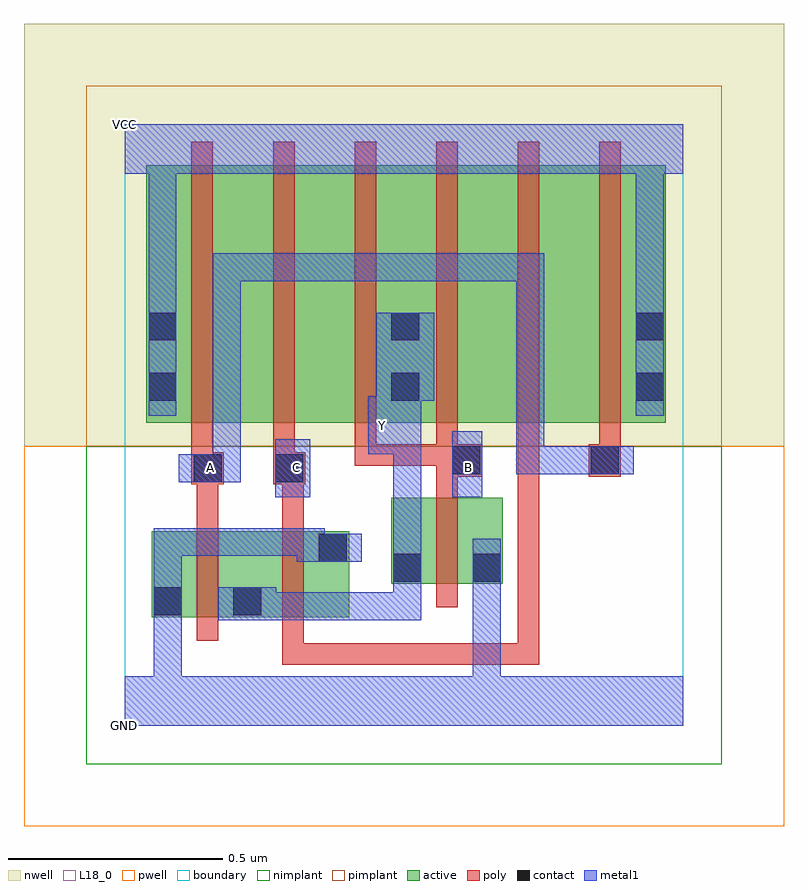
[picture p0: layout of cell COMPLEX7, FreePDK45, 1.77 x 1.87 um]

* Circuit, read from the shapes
.subckt COMPLEX7 A B C GND VCC Y
M1 Y A GND VSUBS nfet w=0.2u l=0.05u
M2 GND C Y VSUBS nfet w=0.2u l=0.05u
M3 GND B Y VSUBS nfet w=0.2u l=0.05u
M4 n1 A VCC n2 pfet w=0.6u l=0.05u
M5 n3 C n1 n2 pfet w=0.6u l=0.05u
M6 Y B n3 n2 pfet w=0.6u l=0.05u
M7 n4 B Y n2 pfet w=0.6u l=0.05u
M8 n5 C n4 n2 pfet w=0.6u l=0.05u
M9 VCC A n5 n2 pfet w=0.6u l=0.05u
.ends

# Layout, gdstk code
import gdstk
lib = gdstk.Library(unit=1e-6, precision=1e-09)
def R(c, l, rs):  # rectangles x0, y0, x1, y1
    for r in rs: c.add(gdstk.rectangle(r[:2], r[2:], *l))
def A(c, l, x, y, w, h, nx, ny, dx, dy):  # array of equal rectangles
    R(c, l, [(x+i*dx, y+j*dy, x+i*dx+w, y+j*dy+h) for i in range(nx) for j in range(ny)])
active = (1, 0)
pwell = (2, 0)
nwell = (3, 0)
nimplant = (4, 0)
pimplant = (5, 0)
poly = (9, 0)
contact = (10, 0)
metal1 = (11, 0)
L18_0 = (18, 0)
boundary = (235, 0)

complex7 = lib.new_cell('COMPLEX7')
R(complex7, active, [(0.062,0.252,0.137,0.452), (0.062,0.252,0.322,0.452), (0.247,0.252,0.522,0.452), (0.247,0.252,0.322,0.397), (0.447,0.33,0.522,0.452), (0.62,0.33,0.695,0.53), (0.62,0.33,0.88,0.53), (0.805,0.33,0.88,0.53), (0.05,0.705,0.125,1.305), (0.05,0.705,0.275,1.305), (0.275,0.705,0.465,1.305), (0.465,0.705,0.69,1.305), (0.615,0.705,0.845,1.305), (0.615,0.705,0.69,1.07), (0.845,0.705,1.035,1.305), (1.035,0.705,1.26,1.305), (1.185,0.705,1.26,1.305)])
R(complex7, pwell, [(-0.235,-0.235,1.535,0.65)])
R(complex7, nwell, [(-0.235,0.65,1.535,1.635)])
R(complex7, nimplant, [(-0.09,-0.09,1.39,0.65)])
R(complex7, pimplant, [(-0.09,0.65,1.39,1.49)])
A(complex7, poly, 0.155, 0.65, 0.05, 0.71, 6, 1, 0.19, 0)
R(complex7, poly, [(0.367,0.142,0.417,0.192), (0.367,0.142,0.417,0.192), (0.367,0.142,0.417,0.192), (0.367,0.142,0.552,0.192), (0.367,0.142,0.417,0.247), (0.502,0.142,0.552,0.192), (0.502,0.142,0.552,0.192), (0.502,0.142,0.552,0.192), (0.502,0.142,0.832,0.192), (0.782,0.142,0.832,0.192), (0.782,0.142,0.832,0.192), (0.782,0.142,0.832,0.192), (0.782,0.142,0.965,0.192), (0.915,0.142,0.965,0.7), (0.915,0.142,0.965,0.192), (0.915,0.142,0.965,0.192), (0.915,0.142,0.965,0.192), (0.915,0.142,0.965,0.192), (0.915,0.142,0.965,0.192), (0.915,0.142,0.965,0.192), (0.915,0.142,0.965,0.192), (0.167,0.197,0.217,0.507), (0.367,0.197,0.417,0.507), (0.725,0.275,0.775,0.585), (0.167,0.457,0.217,0.612), (0.367,0.457,0.417,0.612), (0.725,0.535,0.775,0.63), (0.155,0.562,0.23,0.637), (0.345,0.562,0.42,0.637), (0.725,0.58,0.832,0.655), (1.08,0.58,1.155,0.655), (0.155,0.587,0.205,0.7), (0.345,0.587,0.395,0.7), (0.535,0.605,0.585,0.7), (0.535,0.605,0.585,0.655), (0.535,0.605,0.585,0.655), (0.535,0.605,0.585,0.655), (0.535,0.605,0.775,0.655), (0.725,0.605,0.775,0.7), (1.105,0.605,1.155,0.7)])
R(complex7, contact, [(0.067,0.257,0.132,0.322), (0.252,0.257,0.317,0.322), (0.625,0.335,0.69,0.4), (0.81,0.335,0.875,0.4), (0.452,0.382,0.517,0.447), (0.16,0.567,0.225,0.632), (0.35,0.567,0.415,0.632), (0.762,0.585,0.827,0.65), (1.085,0.585,1.15,0.65), (0.055,0.757,0.12,0.822), (0.62,0.757,0.685,0.822), (1.19,0.757,1.255,0.822), (0.055,0.897,0.12,0.962), (0.62,0.897,0.685,0.962), (1.19,0.897,1.255,0.962)])
R(complex7, metal1, [(0,0,1.3,0.115), (0.067,0.05,0.132,0.115), (0.067,0.05,0.132,0.115), (0.067,0.05,0.132,0.115), (0.067,0.05,0.132,0.115), (0.067,0.05,0.132,0.287), (0.81,0.05,0.875,0.115), (0.81,0.05,0.875,0.115), (0.81,0.05,0.875,0.115), (0.81,0.05,0.875,0.115), (0.81,0.05,0.875,0.365), (0.067,0.222,0.132,0.357), (0.217,0.245,0.352,0.322), (0.287,0.245,0.49,0.31), (0.425,0.245,0.49,0.31), (0.425,0.245,0.49,0.31), (0.425,0.245,0.49,0.31), (0.425,0.245,0.69,0.31), (0.625,0.245,0.69,0.31), (0.625,0.245,0.69,0.31), (0.625,0.245,0.69,0.31), (0.625,0.245,0.69,0.365), (0.067,0.292,0.132,0.46), (0.625,0.3,0.69,0.435), (0.81,0.3,0.875,0.435), (0.625,0.37,0.69,0.697), (0.4,0.382,0.482,0.447), (0.4,0.382,0.465,0.46), (0.417,0.382,0.552,0.447), (0.067,0.395,0.132,0.46), (0.067,0.395,0.27,0.46), (0.205,0.395,0.27,0.46), (0.205,0.395,0.27,0.46), (0.205,0.395,0.27,0.46), (0.205,0.395,0.465,0.46), (0.35,0.532,0.432,0.667), (0.762,0.532,0.832,0.685), (0.125,0.567,0.267,0.632), (0.202,0.567,0.27,0.632), (0.205,0.567,0.27,0.632), (0.205,0.567,0.27,1.1), (0.912,0.585,0.977,0.65), (0.912,0.585,0.977,0.65), (0.912,0.585,0.977,0.65), (0.912,0.585,0.977,0.65), (0.912,0.585,0.977,0.65), (0.912,0.585,1.115,0.65), (0.912,0.585,0.977,1.1), (1.05,0.585,1.115,0.65), (1.05,0.585,1.115,0.65), (1.05,0.585,1.185,0.65), (0.567,0.632,0.69,0.767), (0.585,0.702,0.65,0.822), (0.055,0.722,0.12,0.997), (1.19,0.722,1.255,0.997), (0.585,0.757,0.72,0.962), (0.055,0.932,0.12,1.35), (1.19,0.932,1.255,1.35), (0.205,1.035,0.27,1.1), (0.205,1.035,0.49,1.1), (0.425,1.035,0.49,1.1), (0.425,1.035,0.49,1.1), (0.425,1.035,0.49,1.1), (0.425,1.035,0.49,1.1), (0.425,1.035,0.49,1.1), (0.425,1.035,0.69,1.1), (0.625,1.035,0.69,1.1), (0.625,1.035,0.69,1.1), (0.625,1.035,0.69,1.1), (0.625,1.035,0.84,1.1), (0.775,1.035,0.84,1.1), (0.775,1.035,0.977,1.1), (0.912,1.035,0.977,1.1), (0,1.285,1.3,1.4)])
R(complex7, L18_0, [(0,0,1.3,0.115), (0.067,0.05,0.132,0.115), (0.067,0.05,0.132,0.115), (0.067,0.05,0.132,0.115), (0.067,0.05,0.132,0.115), (0.067,0.05,0.132,0.287), (0.81,0.05,0.875,0.115), (0.81,0.05,0.875,0.115), (0.81,0.05,0.875,0.115), (0.81,0.05,0.875,0.115), (0.81,0.05,0.875,0.365), (0.067,0.222,0.132,0.357), (0.217,0.245,0.352,0.322), (0.287,0.245,0.49,0.31), (0.425,0.245,0.49,0.31), (0.425,0.245,0.49,0.31), (0.425,0.245,0.49,0.31), (0.425,0.245,0.69,0.31), (0.625,0.245,0.69,0.31), (0.625,0.245,0.69,0.31), (0.625,0.245,0.69,0.31), (0.625,0.245,0.69,0.365), (0.067,0.292,0.132,0.46), (0.625,0.3,0.69,0.435), (0.81,0.3,0.875,0.435), (0.625,0.37,0.69,0.697), (0.4,0.382,0.465,0.46), (0.4,0.382,0.482,0.447), (0.417,0.382,0.552,0.447), (0.067,0.395,0.132,0.46), (0.067,0.395,0.27,0.46), (0.205,0.395,0.27,0.46), (0.205,0.395,0.27,0.46), (0.205,0.395,0.27,0.46), (0.205,0.395,0.465,0.46), (0.35,0.532,0.432,0.667), (0.762,0.532,0.832,0.685), (0.125,0.567,0.267,0.632), (0.167,0.567,0.232,0.632), (0.202,0.567,0.27,0.632), (0.205,0.567,0.27,0.632), (0.205,0.567,0.27,1.1), (0.367,0.567,0.432,0.632), (0.767,0.567,0.832,0.632), (0.912,0.585,0.977,0.65), (0.912,0.585,0.977,0.65), (0.912,0.585,0.977,0.65), (0.912,0.585,0.977,0.65), (0.912,0.585,0.977,0.65), (0.912,0.585,1.115,0.65), (0.912,0.585,0.977,1.1), (1.05,0.585,1.115,0.65), (1.05,0.585,1.115,0.65), (1.05,0.585,1.185,0.65), (0.567,0.632,0.69,0.767), (0.567,0.667,0.632,0.732), (0.585,0.702,0.65,0.822), (0.055,0.722,0.12,0.997), (1.19,0.722,1.255,0.997), (0.585,0.757,0.72,0.962), (0.055,0.932,0.12,1.35), (1.19,0.932,1.255,1.35), (0.205,1.035,0.27,1.1), (0.205,1.035,0.49,1.1), (0.425,1.035,0.49,1.1), (0.425,1.035,0.49,1.1), (0.425,1.035,0.49,1.1), (0.425,1.035,0.49,1.1), (0.425,1.035,0.49,1.1), (0.425,1.035,0.69,1.1), (0.625,1.035,0.69,1.1), (0.625,1.035,0.69,1.1), (0.625,1.035,0.69,1.1), (0.625,1.035,0.84,1.1), (0.775,1.035,0.84,1.1), (0.775,1.035,0.977,1.1), (0.912,1.035,0.977,1.1), (0,1.285,1.3,1.4)])
R(complex7, boundary, [(0,0,1.3,1.4)])
complex7.add(gdstk.Label('A', (0.2,0.6), layer=11, texttype=0))
complex7.add(gdstk.Label('B', (0.8,0.6), layer=11, texttype=0))
complex7.add(gdstk.Label('C', (0.4,0.6), layer=11, texttype=0))
complex7.add(gdstk.Label('Y', (0.6,0.7), layer=11, texttype=0))
complex7.add(gdstk.Label('VCC', (0,1.4), layer=11, texttype=0))
complex7.add(gdstk.Label('GND', (0,0), layer=11, texttype=0))

lib.write_gds('COMPLEX7.gds')
